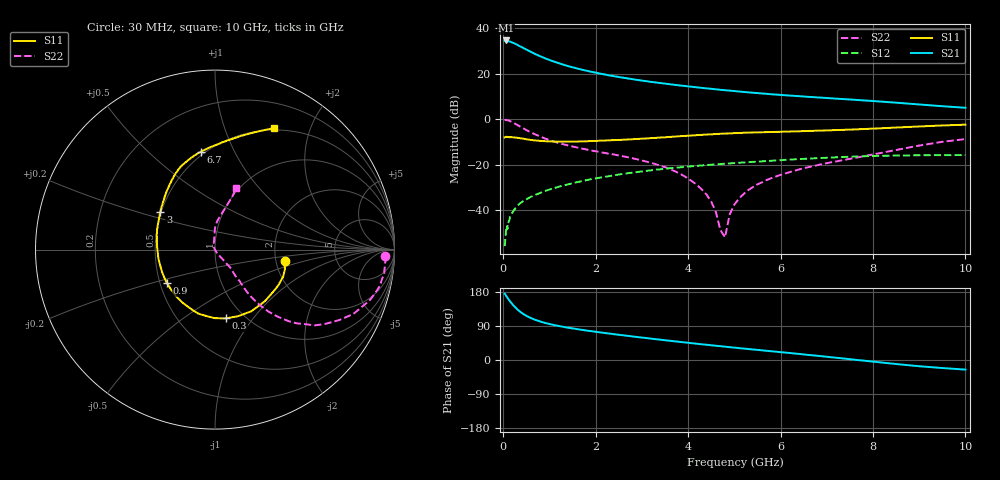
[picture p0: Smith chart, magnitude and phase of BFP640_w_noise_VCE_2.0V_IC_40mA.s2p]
! (c) 2013  Infineon Technologies AG, Munich
! Infineon Technologies  Discrete & RF Semiconductors
! BFP640
! VCE =  2.0 V,  IC =  40 mA
! Common Emitter S-Parameters:  Apr 2013
# GHz  S  MA  R  50
!  f  S11  S21  S12  S22
! GHz  MAG  ANG  MAG  ANG  MAG  ANG  MAG  ANG
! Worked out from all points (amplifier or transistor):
!   99 points, 30 MHz to 10 GHz, reference 50 ohm
!   highest |S21| = 34.6 dB at 60 MHz (marker M1)
!   |S21| within 3 dB of that: start of sweep to 409.1 MHz
!   unconditionally stable (mu >= 1): 1.688 GHz to end of sweep
!   at 350 MHz: K = 0.45, MSG = 34.7 dB, |S12| = -37.3 dB
!   at 3.5 GHz: K = 1.07, MAG = 17.1 dB, |S12| = -21.9 dB
!   at 10 GHz: K = 1.07, MAG = 8.8 dB, |S12| = -15.8 dB
!   lowest NFmin = 1.25 dB at 450 MHz
!   S11 on the Smith chart (normalised r, x): 30 MHz: 2.24, -0.35; 300 MHz: 0.83, -0.75; 900 MHz: 0.54, -0.23; 3 GHz: 0.49, +0.24; 6.7 GHz: 0.48, +0.75; 10 GHz: 0.48, +1.49
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0.03  0.3947 -9.5  52.17 175.2  0.0016 108.4  0.9459 -2.3
0.06  0.4065 -19.2  53.55 170.0  0.0035 63.8  0.9508 -7.1
0.08  0.4056 -25.4  53.33 166.3  0.0045 76.3  0.9454 -9.8
0.11  0.4009 -35.1  51.72 161.0  0.0048 81.0  0.9315 -14.1
0.2  0.3988 -59.5  48.12 146.9  0.0088 73.9  0.8506 -24.9
0.25  0.3927 -71.0  45.8 140.2  0.0105 71.2  0.7967 -29.5
0.3  0.3879 -80.8  43.25 134.1  0.0123 69.8  0.7464 -33.5
0.35  0.382 -90.1  40.31 128.9  0.0136 68.7  0.6999 -37.1
0.45  0.3689 -104.3  35.8 120.1  0.0162 65.9  0.6148 -42.0
0.6  0.347 -121.1  29.99 110.6  0.0195 63.9  0.5081 -47.1
0.7  0.338 -130.5  26.68 105.7  0.0216 63.8  0.4561 -49.2
0.9  0.326 -145.4  21.8 98.0  0.0262 63.0  0.3752 -51.6
1.2  0.3181 -162.1  16.93 89.8  0.0324 62.0  0.2973 -52.9
1.7  0.3227 177.6  12.21 79.6  0.0431 59.8  0.224 -51.9
2.3  0.3417 160.9  9.112 69.6  0.0556 55.6  0.1716 -51.6
3  0.3699 145.4  7.017 59.2  0.0703 50.1  0.1227 -50.0
3.4  0.3926 137.7  6.188 53.6  0.0786 46.6  0.0944 -51.2
4.8  0.48 116.9  4.309 35.1  0.1043 34.1  0.0025 123.3
5.1  0.4938 113.7  4.04 31.4  0.1092 31.5  0.0178 109.5
6.7  0.5509 98.3  3.039 12.3  0.1365 17.3  0.0923 91.3
8.5  0.6507 77.0  2.294 -10.6  0.1579 -1.0  0.2087 78.9
10  0.7525 64.0  1.772 -25.3  0.1617 -12.8  0.3622 71.0
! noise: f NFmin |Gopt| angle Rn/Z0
0.45  1.25  0.25  -170  0.05
0.9  1.25  0.28  -159  0.07
1.5  1.26  0.31  -145  0.09
1.9  1.29  0.32  222  0.12
2.4  1.34  0.33  -124  0.14
3.5  1.46  0.38  -107  0.17
5.5  1.67  0.42  -91  0.26
10  2.15  0.63  -49  0.74
